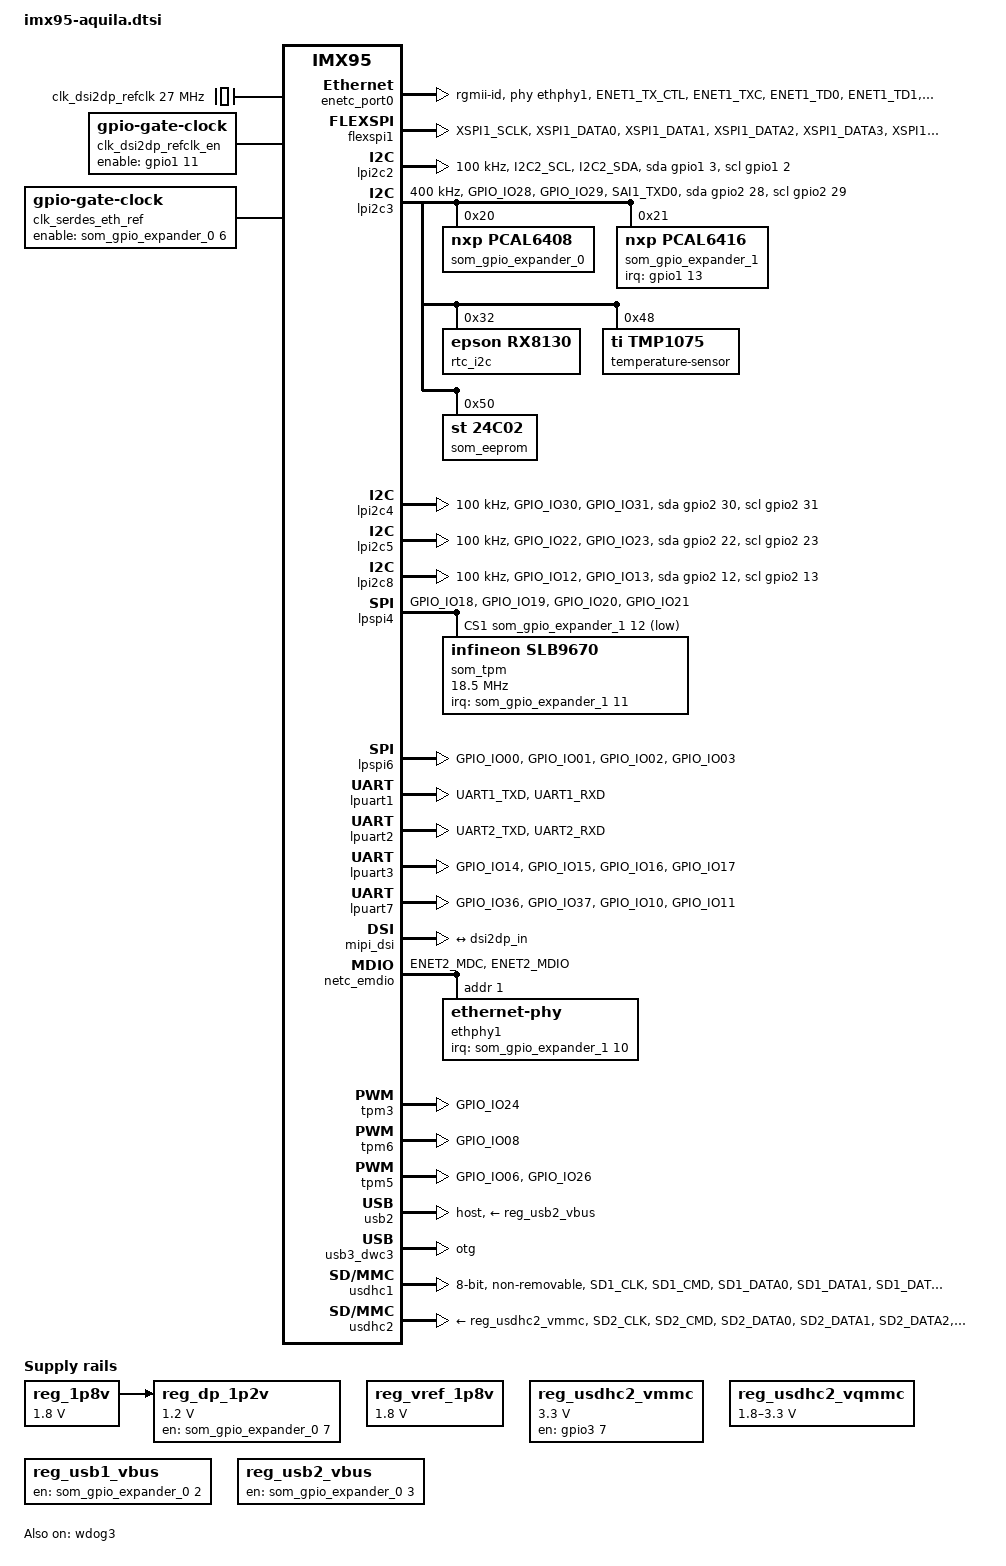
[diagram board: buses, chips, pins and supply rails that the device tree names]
// SPDX-License-Identifier: GPL-2.0-or-later OR MIT
/*
 * Copyright (C) 2025 Toradex
 *
 * https://www.toradex.com/computer-on-modules/aquila-arm-family/nxp-imx95
 */

#include <dt-bindings/net/ti-dp83867.h>
#include <dt-bindings/phy/phy-imx8-pcie.h>
#include "imx95.dtsi"

/ {
	aliases {
		eeprom0 = &som_eeprom;
		ethernet0 = &enetc_port0;
		ethernet1 = &enetc_port2;
		i2c0 = &lpi2c3;
		i2c1 = &lpi2c2;
		i2c3 = &lpi2c8;
		i2c4 = &lpi2c4;
		i2c6 = &lpi2c5;
		mmc0 = &usdhc1;
		mmc1 = &usdhc2;
		rtc0 = &rtc_i2c;
		serial0 = &lpuart3;
		serial1 = &lpuart7;
		serial2 = &lpuart1;
		serial3 = &lpuart2;
		usb0 = &usb3;
	};

	chosen {
		stdout-path = "serial2:115200n8";
	};

	aquila_key_wake: gpio-key-wakeup {
		compatible = "gpio-keys";
		pinctrl-names = "default";
		pinctrl-0 = <&pinctrl_ctrl_wake1_mico>;
		status = "disabled";

		key-wakeup {
			/* Aquila CTRL_WAKE1_MICO# */
			gpios = <&gpio5 11 GPIO_ACTIVE_LOW>;
			label = "Wake Up";
			linux,code = <KEY_WAKEUP>;
			wakeup-source;
		};
	};

	clk_dsi2dp_refclk: clock-dsi2dp-refclk {
		compatible = "fixed-clock";
		#clock-cells = <0>;
		clock-frequency = <27000000>;
	};

	clk_dsi2dp_refclk_en: clock-dsi2dp-refclk-en {
		compatible = "gpio-gate-clock";
		pinctrl-names = "default";
		pinctrl-0 = <&pinctrl_ctrl_dp_clk_en>;
		clocks = <&clk_dsi2dp_refclk>;
		#clock-cells = <0>;
		/* CTRL_DP_CLK_EN */
		enable-gpios = <&gpio1 11 GPIO_ACTIVE_HIGH>;
	};

	clk_serdes_eth_ref: clock-serdes-eth-ref {
		compatible = "gpio-gate-clock";
		#clock-cells = <0>;
		/* CTRL_ETH_REF_CLK_STBY# */
		enable-gpios = <&som_gpio_expander_0 6 GPIO_ACTIVE_HIGH>;
	};

	reg_1p8v: regulator-1p8v {
		compatible = "regulator-fixed";
		regulator-max-microvolt = <1800000>;
		regulator-min-microvolt = <1800000>;
		regulator-name = "On-module +V1.8";
	};

	reg_dp_1p2v: regulator-dp-1p2v {
		compatible = "regulator-fixed";
		/* CTRL_DP_BRIDGE_EN */
		gpios = <&som_gpio_expander_0 7 GPIO_ACTIVE_HIGH>;
		enable-active-high;
		regulator-max-microvolt = <1200000>;
		regulator-min-microvolt = <1200000>;
		regulator-name = "On-module +V1.2_DP";
		vin-supply = <&reg_1p8v>;
	};

	reg_vref_1p8v: regulator-vref-1p8v {
		compatible = "regulator-fixed";
		regulator-max-microvolt = <1800000>;
		regulator-min-microvolt = <1800000>;
		regulator-name = "VREF_V1.8";
	};

	reg_usdhc2_vmmc: regulator-usdhc2-vmmc {
		compatible = "regulator-fixed";
		pinctrl-names = "default";
		pinctrl-0 = <&pinctrl_sd1_pwr_en>;
		/* Aquila SD_1_PWR_EN */
		gpios = <&gpio3 7 GPIO_ACTIVE_HIGH>;
		enable-active-high;
		off-on-delay-us = <100000>;
		regulator-max-microvolt = <3300000>;
		regulator-min-microvolt = <3300000>;
		regulator-name = "SD_1_PWR_EN";
		startup-delay-us = <20000>;
	};

	reg_usdhc2_vqmmc: regulator-usdhc2-vqmmc {
		compatible = "regulator-gpio";
		/* PMIC_SD_1_VSEL */
		gpios = <&som_gpio_expander_1 9 GPIO_ACTIVE_HIGH>;
		regulator-max-microvolt = <3300000>;
		regulator-min-microvolt = <1800000>;
		regulator-name = "PMIC_SD_1_VSEL";
		states = <1800000 0x1>,
			 <3300000 0x0>;
	};

	reg_usb1_vbus: regulator-usb1-vbus {
		compatible = "regulator-fixed";
		/* Aquila USB_1_EN */
		gpios = <&som_gpio_expander_0 2 GPIO_ACTIVE_HIGH>;
		enable-active-high;
		regulator-name = "USB_1_EN";
	};

	reg_usb2_vbus: regulator-usb2-vbus {
		compatible = "regulator-fixed";
		/* Aquila USB_2_EN */
		gpios = <&som_gpio_expander_0 3 GPIO_ACTIVE_HIGH>;
		enable-active-high;
		regulator-name = "USB_2_H_EN";
	};

	reserved-memory {
		#address-cells = <2>;
		#size-cells = <2>;
		ranges;

		ele_reserved: memory@9c300000 {
			compatible = "shared-dma-pool";
			reg = <0 0x9c300000 0 0x100000>;
			no-map;
		};

		linux_cma: linux,cma {
			compatible = "shared-dma-pool";
			reusable;
			size = <0 0x3c000000>;
			alloc-ranges = <0 0x80000000 0 0x7F000000>;
			linux,cma-default;
		};

		vpu_boot: vpu_boot@a0000000 {
			reg = <0 0xa0000000 0 0x100000>;
			no-map;
		};
	};
};

/* Aquila ETH_1 */
&enetc_port0 {
	pinctrl-names = "default";
	pinctrl-0 = <&pinctrl_enetc0>;
	phy-handle = <&ethphy1>;
	phy-mode = "rgmii-id";
};

/* Aquila ETH_2_XGMII */
&enetc_port2 {
	clocks = <&clk_serdes_eth_ref>;
	clock-names = "enet_ref_clk";
};

/* Aquila QSPI_1 */
&flexspi1 {
	pinctrl-names = "default";
	pinctrl-0 = <&pinctrl_flexspi1_8bit>,
		    <&pinctrl_qspi_cs1>;
};

&gpio1 {
	gpio-line-names = "", /* 0 */
			  "",
			  "",
			  "",
			  "",
			  "",
			  "",
			  "",
			  "",
			  "",
			  "GPIO_08", /* 10 */
			  "",
			  "GPIO_09_CSI_1",
			  "CTRL_GPIO_EXP_INT#",
			  "GPIO_10_CSI_1";
	status = "okay";
};

&gpio2 {
	gpio-line-names = "", /* 0 */
			  "",
			  "",
			  "",
			  "",
			  "",
			  "",
			  "GPIO_17_DSI_1",
			  "",
			  "GPIO_18_DSI_1";
};

&gpio3 {
	gpio-line-names = "", /* 0 */
			  "",
			  "",
			  "",
			  "",
			  "",
			  "",
			  "",
			  "",
			  "",
			  "", /* 10 */
			  "",
			  "",
			  "",
			  "",
			  "",
			  "",
			  "",
			  "",
			  "GPIO_11_CSI_1",
			  "", /* 20 */
			  "GPIO_21_DP",
			  "GPIO_12_CSI_1";
};

&gpio4 {
	gpio-line-names = "", /* 0 */
			  "",
			  "",
			  "",
			  "",
			  "",
			  "",
			  "",
			  "",
			  "",
			  "", /* 10 */
			  "",
			  "",
			  "",
			  "",
			  "",
			  "",
			  "GPIO_06",
			  "GPIO_05",
			  "GPIO_04",
			  "", /* 20 */
			  "",
			  "",
			  "GPIO_07",
			  "GPIO_01",
			  "GPIO_02",
			  "",
			  "GPIO_03";
};

&gpio5 {
	gpio-line-names = "", /* 0 */
			  "",
			  "",
			  "",
			  "",
			  "",
			  "",
			  "",
			  "",
			  "GPIO_18_DSI_1",
			  "", /* 10 */
			  "",
			  "",
			  "GPIO_19_DSI_1",
			  "GPIO_20_DSI_1";
};

/* Aquila I2C_1 */
&lpi2c2 {
	pinctrl-names = "default", "gpio";
	pinctrl-0 = <&pinctrl_lpi2c2>;
	pinctrl-1 = <&pinctrl_lpi2c2_gpio>;
	#address-cells = <1>;
	#size-cells = <0>;
	clock-frequency = <100000>;
	scl-gpios = <&gpio1 2 (GPIO_ACTIVE_HIGH | GPIO_OPEN_DRAIN)>;
	sda-gpios = <&gpio1 3 (GPIO_ACTIVE_HIGH | GPIO_OPEN_DRAIN)>;
};

/* On-module I2C - I2C_SOM */
&lpi2c3 {
	pinctrl-names = "default", "gpio";
	pinctrl-0 = <&pinctrl_lpi2c3>, <&pinctrl_ctrl_gpio_exp_int>;
	pinctrl-1 = <&pinctrl_lpi2c3_gpio>, <&pinctrl_ctrl_gpio_exp_int>;
	#address-cells = <1>;
	#size-cells = <0>;
	clock-frequency = <400000>;
	scl-gpios = <&gpio2 29 (GPIO_ACTIVE_HIGH | GPIO_OPEN_DRAIN)>;
	sda-gpios = <&gpio2 28 (GPIO_ACTIVE_HIGH | GPIO_OPEN_DRAIN)>;
	status = "okay";

	som_gpio_expander_0: gpio@20 {
		compatible = "nxp,pcal6408";
		reg = <0x20>;
		#gpio-cells = <2>;
		gpio-controller;
		gpio-line-names =
			"PCIE_1_RESET#", /* 0 */
			"PCIE_2_RESET#",
			"USB_1_EN",
			"USB_2_H_EN",
			"BT_DISABLE#",
			"WIFI_DISABLE#",
			"CTRL_ETH_REF_CLK_STBY",
			"CTRL_DP_BRIDGE_EN";
	};

	som_gpio_expander_1: gpio@21 {
		compatible = "nxp,pcal6416";
		reg = <0x21>;
		#interrupt-cells = <2>;
		interrupt-controller;
		interrupt-parent = <&gpio1>;
		interrupts = <13 IRQ_TYPE_LEVEL_LOW>;
		#gpio-cells = <2>;
		gpio-controller;
		gpio-line-names =
			"GPIO_13_CSI_2", /* 0 */
			"GPIO_14_CSI_2",
			"GPIO_15_CSI_2",
			"GPIO_16_CSI_2",
			"PCIE_WAKE#",
			"USB_1_INT#",
			"USB_1_OC#",
			"USB_2_H_OC#",
			"ETH_2_XGMII_INT#",
			"PMIC_SD_1_VSEL",
			"ETH_1_INT#", /* 10 */
			"CTRL_TPM_INT#",
			"SPI_2_CS2_TPM",
			"PCIE_WAKE_WIFI#",
			"WIFI_WAKE_BT",
			"WIFI_WAKEUP_HOST";
	};

	som_dsi2dp_bridge: bridge@2c {
		compatible = "ti,sn65dsi86";
		reg = <0x2c>;
		clocks = <&clk_dsi2dp_refclk_en>;
		clock-names = "refclk";
		vcc-supply = <&reg_dp_1p2v>;
		vcca-supply = <&reg_dp_1p2v>;
		vccio-supply = <&reg_1p8v>;
		vpll-supply = <&reg_1p8v>;
		status = "disabled";

		ports {
			#address-cells = <1>;
			#size-cells = <0>;

			port@0 {
				reg = <0>;
				dsi2dp_in: endpoint {
					remote-endpoint = <&dsi0_out>;
				};
			};

			port@1 {
				reg = <1>;
				dsi2dp_out: endpoint {
					data-lanes = <3 2 1 0>;
				};
			};
		};
	};

	rtc_i2c: rtc@32 {
		compatible = "epson,rx8130";
		reg = <0x32>;
	};

	temperature-sensor@48 {
		compatible = "ti,tmp1075";
		reg = <0x48>;
	};

	som_eeprom: eeprom@50 {
		compatible = "st,24c02", "atmel,24c02";
		reg = <0x50>;
		pagesize = <16>;
	};
};

/* Aquila I2C_4_CSI1 */
&lpi2c4 {
	pinctrl-names = "default", "gpio";
	pinctrl-0 = <&pinctrl_lpi2c4>;
	pinctrl-1 = <&pinctrl_lpi2c4_gpio>;
	#address-cells = <1>;
	#size-cells = <0>;
	clock-frequency = <100000>;
	scl-gpios = <&gpio2 31 (GPIO_ACTIVE_HIGH | GPIO_OPEN_DRAIN)>;
	sda-gpios = <&gpio2 30 (GPIO_ACTIVE_HIGH | GPIO_OPEN_DRAIN)>;
};

/* Aquila I2C_6 */
&lpi2c5 {
	pinctrl-names = "default", "gpio";
	pinctrl-0 = <&pinctrl_lpi2c5>;
	pinctrl-1 = <&pinctrl_lpi2c5_gpio>;
	#address-cells = <1>;
	#size-cells = <0>;
	clock-frequency = <100000>;
	scl-gpios = <&gpio2 23 (GPIO_ACTIVE_HIGH | GPIO_OPEN_DRAIN)>;
	sda-gpios = <&gpio2 22 (GPIO_ACTIVE_HIGH | GPIO_OPEN_DRAIN)>;
};

/* Aquila I2C_3_DSI1/I2C_5_CSI2 */
&lpi2c8 {
	pinctrl-names = "default", "gpio";
	pinctrl-0 = <&pinctrl_lpi2c8>;
	pinctrl-1 = <&pinctrl_lpi2c8_gpio>;
	#address-cells = <1>;
	#size-cells = <0>;
	clock-frequency = <100000>;
	scl-gpios = <&gpio2 13 (GPIO_ACTIVE_HIGH | GPIO_OPEN_DRAIN)>;
	sda-gpios = <&gpio2 12 (GPIO_ACTIVE_HIGH | GPIO_OPEN_DRAIN)>;
};

/* Aquila SPI_2 */
&lpspi4 {
	pinctrl-names = "default";
	pinctrl-0 = <&pinctrl_lpspi4>;
	cs-gpios = <&gpio2 18 GPIO_ACTIVE_LOW>,
		   <&som_gpio_expander_1 12 GPIO_ACTIVE_LOW>;
	status = "okay";

	som_tpm: tpm@1 {
		compatible = "infineon,slb9670", "tcg,tpm_tis-spi";
		reg = <0x1>;
		interrupt-parent = <&som_gpio_expander_1>;
		interrupts = <11 IRQ_TYPE_EDGE_FALLING>;
		spi-max-frequency = <18500000>;
	};
};

/* Aquila SPI_1 */
&lpspi6 {
	pinctrl-names = "default";
	pinctrl-0 = <&pinctrl_lpspi6>;
	cs-gpios = <&gpio2 0 GPIO_ACTIVE_LOW>;
};

/* Aquila UART_3, used as the Linux Console */
&lpuart1 {
	pinctrl-names = "default";
	pinctrl-0 = <&pinctrl_uart1>;
};

/* Aquila UART_4 */
&lpuart2 {
	pinctrl-names = "default";
	pinctrl-0 = <&pinctrl_uart2>;
};

/* Aquila UART_1 */
&lpuart3 {
	pinctrl-names = "default";
	pinctrl-0 = <&pinctrl_uart3>;
	uart-has-rtscts;
};

/* Aquila UART_2 */
&lpuart7 {
	pinctrl-names = "default";
	pinctrl-0 = <&pinctrl_uart7>;
	uart-has-rtscts;
};

&mipi_dsi {
	ports {
		#address-cells = <1>;
		#size-cells = <0>;

		port@1 {
			reg = <1>;
			dsi0_out: endpoint {
				remote-endpoint = <&dsi2dp_in>;
			};
		};
	};
};

/* Aquila ETH_2_XGMII_MDIO, shared between all ethernet ports */
&netc_emdio {
	pinctrl-names = "default";
	pinctrl-0 = <&pinctrl_emdio>;

	ethphy1: ethernet-phy@1 {
		reg = <1>;
		interrupt-parent = <&som_gpio_expander_1>;
		interrupts = <10 IRQ_TYPE_EDGE_FALLING>;
		ti,rx-internal-delay = <DP83867_RGMIIDCTL_2_00_NS>;
		ti,tx-internal-delay = <DP83867_RGMIIDCTL_2_00_NS>;
	};
};

/* Aquila PWM_1 */
&tpm3 {
	pinctrl-names = "default";
	pinctrl-0 = <&pinctrl_pwm1>;
};

/* Aquila PWM_2 */
&tpm6 {
	pinctrl-names = "default";
	pinctrl-0 = <&pinctrl_pwm2>;
};

/* Aquila PWM_3_DSI and PWM_4_DP */
&tpm5 {
	pinctrl-names = "default";
	pinctrl-0 = <&pinctrl_pwm3_dsi>, <&pinctrl_pwm4_dp>;
};

/* Aquila USB_2, optional Bluetooth USB */
&usb2 {
	dr_mode = "host";
	vbus-supply = <&reg_usb2_vbus>;
};

/* Aquila USB_1 */
&usb3 {
	fsl,disable-port-power-control;
};

&usb3_dwc3 {
	dr_mode = "otg";
	adp-disable;
	hnp-disable;
	srp-disable;
	usb-role-switch;
};

&usb3_phy {
	vbus-supply = <&reg_usb1_vbus>;
};

/* On-module eMMC */
&usdhc1 {
	pinctrl-names = "default", "state_100mhz", "state_200mhz";
	pinctrl-0 = <&pinctrl_usdhc1>;
	pinctrl-1 = <&pinctrl_usdhc1>;
	pinctrl-2 = <&pinctrl_usdhc1_200mhz>;
	bus-width = <8>;
	non-removable;
	no-sdio;
	no-sd;
	status = "okay";
};

/* Aquila SD_1 */
&usdhc2 {
	pinctrl-names = "default", "state_100mhz", "state_200mhz", "sleep";
	pinctrl-0 = <&pinctrl_usdhc2>, <&pinctrl_sd1_cd_gpio>;
	pinctrl-1 = <&pinctrl_usdhc2>, <&pinctrl_sd1_cd_gpio>;
	pinctrl-2 = <&pinctrl_usdhc2_200mhz>,<&pinctrl_sd1_cd_gpio>;
	pinctrl-3 = <&pinctrl_usdhc2_sleep>, <&pinctrl_sd1_cd_gpio>;
	cd-gpios = <&gpio3 0 GPIO_ACTIVE_LOW>;
	vmmc-supply = <&reg_usdhc2_vmmc>;
	vqmmc-supply = <&reg_usdhc2_vqmmc>;
};

&wdog3 {
	fsl,ext-reset-output;
	status = "okay";
};

&scmi_iomuxc {
	/* Aquila ETH_2_XGMII_MDIO */
	pinctrl_emdio: emdiogrp {
		fsl,pins = <IMX95_PAD_ENET2_MDC__NETCMIX_TOP_NETC_MDC	0x57e>, /* Aquila B90 */
			   <IMX95_PAD_ENET2_MDIO__NETCMIX_TOP_NETC_MDIO	0x97e>; /* Aquila B89 */
	};

	/* Aquila ETH_1 */
	pinctrl_enetc0: enetc0grp {
		fsl,pins = <IMX95_PAD_ENET1_TX_CTL__NETCMIX_TOP_ETH0_RGMII_TX_CTL	0x57e>, /* ENET1_TX_CTL */
			   <IMX95_PAD_ENET1_TXC__NETCMIX_TOP_ETH0_RGMII_TX_CLK		0x58e>, /* ENET1_TXC    */
			   <IMX95_PAD_ENET1_TD0__NETCMIX_TOP_ETH0_RGMII_TD0		0x50e>, /* ENET1_TDO    */
			   <IMX95_PAD_ENET1_TD1__NETCMIX_TOP_ETH0_RGMII_TD1		0x50e>, /* ENET1_TD1    */
			   <IMX95_PAD_ENET1_TD2__NETCMIX_TOP_ETH0_RGMII_TD2		0x50e>, /* ENET1_TD2    */
			   <IMX95_PAD_ENET1_TD3__NETCMIX_TOP_ETH0_RGMII_TD3		0x50e>, /* ENET1_TD3    */
			   <IMX95_PAD_ENET1_RX_CTL__NETCMIX_TOP_ETH0_RGMII_RX_CTL	0x57e>, /* ENET1_RX_CTL */
			   <IMX95_PAD_ENET1_RXC__NETCMIX_TOP_ETH0_RGMII_RX_CLK		0x58e>, /* ENET1_RXC    */
			   <IMX95_PAD_ENET1_RD0__NETCMIX_TOP_ETH0_RGMII_RD0		0x57e>, /* ENET1_RD0    */
			   <IMX95_PAD_ENET1_RD1__NETCMIX_TOP_ETH0_RGMII_RD1		0x57e>, /* ENET1_RD1    */
			   <IMX95_PAD_ENET1_RD2__NETCMIX_TOP_ETH0_RGMII_RD2		0x57e>, /* ENET1_RD2    */
			   <IMX95_PAD_ENET1_RD3__NETCMIX_TOP_ETH0_RGMII_RD3		0x57e>; /* ENET1_RD3    */
	};

	pinctrl_ctrl_dp_clk_en: dpclkengrp {
		fsl,pins = <IMX95_PAD_SAI1_TXFS__AONMIX_TOP_GPIO1_IO_BIT11	0x11e>; /* CTRL_DP_CLK_EN */
	};

	pinctrl_ctrl_gpio_exp_int: gpioexpintgrp {
		fsl,pins = <IMX95_PAD_SAI1_TXD0__AONMIX_TOP_GPIO1_IO_BIT13	0x31e>; /* CTRL_GPIO_EXP_INT# */
	};

	/* Aquila CTRL_WAKE1_MICO# */
	pinctrl_ctrl_wake1_mico: ctrlwake1micogrp {
		fsl,pins = <IMX95_PAD_XSPI1_SS1_B__GPIO5_IO_BIT11	0x31e>; /* Aquila D6 */
	};

	/* Aquila CAN_1 */
	pinctrl_flexcan1: flexcan1grp {
		fsl,pins = <IMX95_PAD_PDM_CLK__AONMIX_TOP_CAN1_TX		0x39e>, /* Aquila B48 */
			   <IMX95_PAD_PDM_BIT_STREAM0__AONMIX_TOP_CAN1_RX	0x39e>; /* Aquila B49 */
	};

	/* Aquila CAN_2 */
	pinctrl_flexcan2: flexcan2grp {
		fsl,pins = <IMX95_PAD_GPIO_IO25__CAN2_TX	0x39e>, /* Aquila B50 */
			   <IMX95_PAD_GPIO_IO27__CAN2_RX	0x39e>; /* Aquila B51 */
	};

	/* Aquila CAN_3 */
	pinctrl_flexcan3: flexcan3grp {
		fsl,pins = <IMX95_PAD_CCM_CLKO3__CAN3_TX	0x39e>, /* Aquila B53 */
			   <IMX95_PAD_CCM_CLKO4__CAN3_RX	0x39e>; /* Aquila B54 */
	};

	/* Aquila CAN_4 */
	pinctrl_flexcan4: flexcan4grp {
		fsl,pins = <IMX95_PAD_GPIO_IO04__CAN4_TX	0x39e>, /* Aquila B55 */
			   <IMX95_PAD_GPIO_IO05__CAN4_RX	0x39e>; /* Aquila B56 */
	};

	/* Aquila QSPI_1 (8 bit) */
	pinctrl_flexspi1_8bit: flexspi18bitgrp {
		fsl,pins = <IMX95_PAD_XSPI1_SCLK__FLEXSPI1_A_SCLK	0x3fe>, /* Aquila B65 */
			   <IMX95_PAD_XSPI1_DATA0__FLEXSPI1_A_DATA_BIT0	0x3fe>, /* Aquila B68 */
			   <IMX95_PAD_XSPI1_DATA1__FLEXSPI1_A_DATA_BIT1	0x3fe>, /* Aquila B67 */
			   <IMX95_PAD_XSPI1_DATA2__FLEXSPI1_A_DATA_BIT2	0x3fe>, /* Aquila B61 */
			   <IMX95_PAD_XSPI1_DATA3__FLEXSPI1_A_DATA_BIT3	0x3fe>, /* Aquila B60 */
			   <IMX95_PAD_XSPI1_DATA4__FLEXSPI1_A_DATA_BIT4	0x3fe>, /* Aquila B70 */
			   <IMX95_PAD_XSPI1_DATA5__FLEXSPI1_A_DATA_BIT5	0x3fe>, /* Aquila B71 */
			   <IMX95_PAD_XSPI1_DATA6__FLEXSPI1_A_DATA_BIT6	0x3fe>, /* Aquila B72 */
			   <IMX95_PAD_XSPI1_DATA7__FLEXSPI1_A_DATA_BIT7	0x3fe>, /* Aquila B73 */
			   <IMX95_PAD_XSPI1_DQS__FLEXSPI1_A_DQS		0x3fe>; /* Aquila B63 */
	};

	/* Aquila QSPI_1 (4 bit) */
	pinctrl_flexspi1_4bit: flexspi18bitgrp {
		fsl,pins = <IMX95_PAD_XSPI1_SCLK__FLEXSPI1_A_SCLK	0x3fe>, /* Aquila B65 */
			   <IMX95_PAD_XSPI1_DATA0__FLEXSPI1_A_DATA_BIT0	0x3fe>, /* Aquila B68 */
			   <IMX95_PAD_XSPI1_DATA1__FLEXSPI1_A_DATA_BIT1	0x3fe>, /* Aquila B67 */
			   <IMX95_PAD_XSPI1_DATA2__FLEXSPI1_A_DATA_BIT2	0x3fe>, /* Aquila B61 */
			   <IMX95_PAD_XSPI1_DATA3__FLEXSPI1_A_DATA_BIT3	0x3fe>, /* Aquila B60 */
			   <IMX95_PAD_XSPI1_DQS__FLEXSPI1_A_DQS		0x3fe>; /* Aquila B63 */
	};

	/* Aquila GPIO_01 */
	pinctrl_gpio1: gpio1grp {
		fsl,pins = <IMX95_PAD_ENET2_RD0__GPIO4_IO_BIT24	0x31e>; /* Aquila D23 */
	};

	/* Aquila GPIO_02 */
	pinctrl_gpio2: gpio2grp {
		fsl,pins = <IMX95_PAD_ENET2_RD1__GPIO4_IO_BIT25	0x31e>; /* Aquila D24 */
	};

	/* Aquila GPIO_03 */
	pinctrl_gpio3: gpio3grp {
		fsl,pins = <IMX95_PAD_ENET2_RD3__GPIO4_IO_BIT27	0x31e>; /* Aquila D25 */
	};

	/* Aquila GPIO_04 */
	pinctrl_gpio4: gpio4grp {
		fsl,pins = <IMX95_PAD_ENET2_TD0__GPIO4_IO_BIT19	0x31e>; /* Aquila C20 */
	};

	/* Aquila GPIO_05 */
	pinctrl_gpio5: gpio5grp {
		fsl,pins = <IMX95_PAD_ENET2_TD1__GPIO4_IO_BIT18	0x31e>; /* Aquila C21 */
	};

	/* Aquila GPIO_06 */
	pinctrl_gpio6: gpio6grp {
		fsl,pins = <IMX95_PAD_ENET2_TD2__GPIO4_IO_BIT17	0x31e>; /* Aquila C22 */
	};

	/* Aquila GPIO_07 */
	pinctrl_gpio7: gpio7grp {
		fsl,pins = <IMX95_PAD_ENET2_RXC__GPIO4_IO_BIT23	0x31e>; /* Aquila C23 */
	};

	/* Aquila GPIO_08 */
	pinctrl_gpio8: gpio8grp {
		fsl,pins = <IMX95_PAD_PDM_BIT_STREAM1__AONMIX_TOP_GPIO1_IO_BIT10	0x31e>; /* Aquila C24 */
	};

	/* Aquila GPIO_09_CSI_1 */
	pinctrl_gpio9_csi_1: gpio9csi1grp {
		fsl,pins = <IMX95_PAD_SAI1_TXC__AONMIX_TOP_GPIO1_IO_BIT12	0x31e>; /* Aquila B17 */
	};

	/* Aquila GPIO_10_CSI_1 */
	pinctrl_gpio10_csi_1: gpio10csi1grp {
		fsl,pins = <IMX95_PAD_SAI1_RXD0__AONMIX_TOP_GPIO1_IO_BIT14	0x31e>; /* Aquila B18 */
	};

	/* Aquila GPIO_11_CSI_1 */
	pinctrl_gpio11_csi_1: gpio11csi1grp {
		fsl,pins = <IMX95_PAD_SD2_VSELECT__GPIO3_IO_BIT19	0x31e>; /* Aquila A11*/
	};

	/* Aquila GPIO_12_CSI_1 */
	pinctrl_gpio12_csi_1: gpio12csi1grp {
		fsl,pins = <IMX95_PAD_SD3_DATA0__GPIO3_IO_BIT22	0x31e>; /* Aquila B19 */
	};

	/* Aquila GPIO_17_DSI_1 */
	pinctrl_gpio17_dsi_1: gpio17dsi1grp {
		fsl,pins = <IMX95_PAD_GPIO_IO07__GPIO2_IO_BIT7	0x31e>; /* Aquila B42 */
	};

	/* Aquila GPIO_18_DSI_1 */
	pinctrl_gpio18_dsi_1: gpio18dsi1grp {
		fsl,pins = <IMX95_PAD_GPIO_IO09__GPIO2_IO_BIT9	0x31e>; /* Aquila B43 */
	};

	/* Aquila GPIO_19_DSI_1 */
	pinctrl_gpio19_dsi_1: gpio19dsi1grp {
		fsl,pins = <IMX95_PAD_GPIO_IO33__GPIO5_IO_BIT13	0x31e>; /* Aquila B44 */
	};

	/* Aquila GPIO_20_DSI_1 */
	pinctrl_gpio20_dsi_1: gpio20dsi1grp {
		fsl,pins = <IMX95_PAD_GPIO_IO34__GPIO5_IO_BIT14	0x31e>; /* Aquila B45 */
	};

	/* Aquila GPIO_21_DP */
	pinctrl_gpio21_dp: gpio21dpgrp {
		fsl,pins = <IMX95_PAD_SD3_CMD__GPIO3_IO_BIT21	0x31e>; /* Aquila B57 */
	};

	/* Aquila I2C_2 */
	pinctrl_i3c2: i3c2cgrp {
		fsl,pins = <IMX95_PAD_ENET1_MDC__I3C2_SCL	0x40001186>, /* Aquila C17 */
			   <IMX95_PAD_ENET1_MDIO__I3C2_SDA	0x40001186>; /* Aquila C16 */
	};

	/* Aquila I2C_1 */
	pinctrl_lpi2c2: lpi2c2grp {
		fsl,pins = <IMX95_PAD_I2C2_SCL__AONMIX_TOP_LPI2C2_SCL	0x40001b9e>, /* Aquila D8 */
			   <IMX95_PAD_I2C2_SDA__AONMIX_TOP_LPI2C2_SDA	0x40001b9e>; /* Aquila D7 */
	};

	/* Aquila I2C_1 as GPIOs */
	pinctrl_lpi2c2_gpio: lpi2c2gpiogrp {
		fsl,pins = <IMX95_PAD_I2C2_SCL__AONMIX_TOP_GPIO1_IO_BIT2	0x40001b9e>, /* Aquila D8 */
			   <IMX95_PAD_I2C2_SDA__AONMIX_TOP_GPIO1_IO_BIT3	0x40001b9e>; /* Aquila D7 */
	};

	/* On-module I2C */
	pinctrl_lpi2c3: lpi2c3grp {
		fsl,pins = <IMX95_PAD_GPIO_IO28__LPI2C3_SDA	0x40001b9e>, /* I2C_SOM_SDA */
			   <IMX95_PAD_GPIO_IO29__LPI2C3_SCL	0x40001b9e>; /* I2C_SOM_SCL */
	};

	/* On-module I2C as GPIOs */
	pinctrl_lpi2c3_gpio: lpi2c3gpiogrp {
		fsl,pins = <IMX95_PAD_GPIO_IO28__GPIO2_IO_BIT28	0x40001b9e>, /* I2C_SOM_SDA */
			   <IMX95_PAD_GPIO_IO29__GPIO2_IO_BIT29	0x40001b9e>; /* I2C_SOM_SCL */
	};

	/* Aquila I2C_4_CSI1 */
	pinctrl_lpi2c4: lpi2c4grp {
		fsl,pins = <IMX95_PAD_GPIO_IO30__LPI2C4_SDA	0x40001b9e>, /* Aquila A12 */
			   <IMX95_PAD_GPIO_IO31__LPI2C4_SCL	0x40001b9e>; /* Aquila A13 */
	};

	/* Aquila I2C_4_CSI1 as GPIO */
	pinctrl_lpi2c4_gpio: lpi2c4gpiogrp {
		fsl,pins = <IMX95_PAD_GPIO_IO30__GPIO2_IO_BIT30	0x40001b9e>, /* Aquila A12 */
			   <IMX95_PAD_GPIO_IO31__GPIO2_IO_BIT31	0x40001b9e>; /* Aquila A13 */
	};

	/* Aquila I2C_6 */
	pinctrl_lpi2c5: lpi2c5grp {
		fsl,pins = <IMX95_PAD_GPIO_IO22__LPI2C5_SDA	0x40001b9e>, /* Aquila C18 */
			   <IMX95_PAD_GPIO_IO23__LPI2C5_SCL	0x40001b9e>; /* Aquila C19 */
	};

	/* Aquila I2C_6 as GPIO */
	pinctrl_lpi2c5_gpio: lpi2c5grp {
		fsl,pins = <IMX95_PAD_GPIO_IO22__GPIO2_IO_BIT22	0x40001b9e>, /* Aquila C18 */
			   <IMX95_PAD_GPIO_IO23__GPIO2_IO_BIT23	0x40001b9e>; /* Aquila C19 */
	};

	/* Aquila I2C_3_DSI1/I2C_5_CSI2 */
	pinctrl_lpi2c8: lpi2c8grp {
		fsl,pins = <IMX95_PAD_GPIO_IO12__LPI2C8_SDA	0x40001b9e>, /* Aquila C5/B40 */
			   <IMX95_PAD_GPIO_IO13__LPI2C8_SCL	0x40001b9e>; /* Aquila C6/C41 */
	};

	/* Aquila I2C_3_DSI1/I2C_5_CSI2 as GPIO */
	pinctrl_lpi2c8_gpio: lpi2c8gpiogrp {
		fsl,pins = <IMX95_PAD_GPIO_IO12__GPIO2_IO_BIT12	0x40001b9e>, /* Aquila C5/B40 */
			   <IMX95_PAD_GPIO_IO13__GPIO2_IO_BIT13	0x40001b9e>; /* Aquila C6/B41 */
	};

	/* Aquila SPI_2 */
	pinctrl_lpspi4: lpspi4grp {
		fsl,pins = <IMX95_PAD_GPIO_IO18__GPIO2_IO_BIT18	0x3fe>, /* Aquila D16 */
			   <IMX95_PAD_GPIO_IO19__LPSPI4_SIN	0x3fe>, /* Aquila D15 */
			   <IMX95_PAD_GPIO_IO20__LPSPI4_SOUT	0x3fe>, /* Aquila D17 */
			   <IMX95_PAD_GPIO_IO21__LPSPI4_SCK	0x3fe>; /* Aquila D14 */
	};

	/* Aquila SPI_1 */
	pinctrl_lpspi6: lpspi6grp {
		fsl,pins = <IMX95_PAD_GPIO_IO00__GPIO2_IO_BIT0	0x3fe>, /* Aquila D9 */
			   <IMX95_PAD_GPIO_IO01__LPSPI6_SIN	0x3fe>, /* Aquila D10 */
			   <IMX95_PAD_GPIO_IO02__LPSPI6_SOUT	0x3fe>, /* Aquila D11 */
			   <IMX95_PAD_GPIO_IO03__LPSPI6_SCK	0x3fe>; /* Aquila D12 */
	};

	/* Aquila PCIE_1 */
	pinctrl_pcie0: pcie0grp {
		fsl,pins = <IMX95_PAD_GPIO_IO32__HSIOMIX_TOP_PCIE1_CLKREQ_B	0x40001b1e>; /* Aquila C37 */
	};

	/* Aquila PCIE_2 */
	pinctrl_pcie1: pcie1grp {
		fsl,pins = <IMX95_PAD_GPIO_IO35__HSIOMIX_TOP_PCIE2_CLKREQ_B	0x40001b1e>; /* Aquila C34 */
	};

	/* Aquila QSPI_1_CS1# */
	pinctrl_qspi_cs1: qspics1grp {
		fsl,pins = <IMX95_PAD_XSPI1_SS0_B__FLEXSPI1_A_SS0_B	0x3fe>; /* Aquila B66 */
	};

	/* Aquila QSPI_1_CS2# as GPIO */
	pinctrl_qspi_cs2_gpio: qspics2gpiogrp {
		fsl,pins = <IMX95_PAD_CCM_CLKO2__GPIO3_IO_BIT27	0x3fe>; /* Aquila B62 */
	};

	/* Aquila I2S_1 */
	pinctrl_sai2: sai2grp {
		fsl,pins = <IMX95_PAD_ENET2_TX_CTL__NETCMIX_TOP_SAI2_TX_SYNC		0x11e>, /* Aquila B21 */
			   <IMX95_PAD_ENET2_TXC__NETCMIX_TOP_SAI2_TX_BCLK		0x11e>, /* Aquila B20 */
			   <IMX95_PAD_ENET2_TD3__NETCMIX_TOP_SAI2_RX_DATA_BIT0		0x11e>, /* Aquila B23 */
			   <IMX95_PAD_ENET2_RX_CTL__NETCMIX_TOP_SAI2_TX_DATA_BIT0	0x11e>; /* Aquila B22 */
	};

	pinctrl_sai2_mclk: sai2mclkgrp {
		fsl,pins = <IMX95_PAD_ENET2_RD2__NETCMIX_TOP_SAI2_MCLK	0x31e>; /* Aquila B24 */
	};

	/* Aquila SD_1_CD# as GPIO */
	pinctrl_sd1_cd_gpio: sd1cdgpiogrp {
		fsl,pins = <IMX95_PAD_SD2_CD_B__GPIO3_IO_BIT0	0x1100>; /* Aquila A1 */
	};

	/* Aquila SD_1_PWR_EN */
	pinctrl_sd1_pwr_en: sd1pwrengpiogrp {
		fsl,pins = <IMX95_PAD_SD2_RESET_B__GPIO3_IO_BIT7	0x11e>; /* Aquila A6 */
	};

	/* Aquila PWM_1 */
	pinctrl_pwm1: tpm3ch3grp {
		fsl,pins = <IMX95_PAD_GPIO_IO24__TPM3_CH3	0x11e>; /* Aquila C25 */
	};

	/* Aquila PWM_3_DSI */
	pinctrl_pwm3_dsi: tpm5ch0grp {
		fsl,pins = <IMX95_PAD_GPIO_IO06__TPM5_CH0	0x11e>; /* Aquila B46 */
	};

	/* Aquila PWM_3_DSI as GPIO */
	pinctrl_pwm3_dsi_gpio: tpm5ch0gpiogrp {
		fsl,pins = <IMX95_PAD_GPIO_IO06__GPIO2_IO_BIT6	0x11e>; /* Aquila B46 */
	};

	/* Aquila PWM_4_DP */
	pinctrl_pwm4_dp: tpm5ch3grp {
		fsl,pins = <IMX95_PAD_GPIO_IO26__TPM5_CH3	0x11e>; /* Aquila B58 */
	};

	/* Aquila PWM_2 */
	pinctrl_pwm2: tpm6ch0grp {
		fsl,pins = <IMX95_PAD_GPIO_IO08__TPM6_CH0	0x11e>; /* Aquila C26 */
	};

	/* Aquila UART_3 */
	pinctrl_uart1: uart1grp {
		fsl,pins = <IMX95_PAD_UART1_TXD__AONMIX_TOP_LPUART1_TX	0x31e>, /* Aquila D20 */
			   <IMX95_PAD_UART1_RXD__AONMIX_TOP_LPUART1_RX	0x31e>; /* Aquila D19 */
	};

	/* Aquila UART_4 */
	pinctrl_uart2: uart2grp {
		fsl,pins = <IMX95_PAD_UART2_TXD__AONMIX_TOP_LPUART2_TX	0x31e>, /* Aquila D22 */
			   <IMX95_PAD_UART2_RXD__AONMIX_TOP_LPUART2_RX	0x31e>; /* Aquila D21 */
	};

	/* Aquila UART_1 */
	pinctrl_uart3: uart3grp {
		fsl,pins = <IMX95_PAD_GPIO_IO14__LPUART3_TX	0x31e>, /* Aquila B37 */
			   <IMX95_PAD_GPIO_IO15__LPUART3_RX	0x31e>, /* Aquila B35 */
			   <IMX95_PAD_GPIO_IO16__LPUART3_CTS_B	0x31e>, /* Aquila B36 */
			   <IMX95_PAD_GPIO_IO17__LPUART3_RTS_B	0x31e>; /* Aquila B38 */
	};

	/* Aquila UART_2 */
	pinctrl_uart7: uart7grp {
		fsl,pins = <IMX95_PAD_GPIO_IO36__LPUART7_TX	0x31e>, /* Aquila B33 */
			   <IMX95_PAD_GPIO_IO37__LPUART7_RX	0x31e>, /* Aquila B31 */
			   <IMX95_PAD_GPIO_IO10__LPUART7_CTS_B	0x31e>, /* Aquila B32 */
			   <IMX95_PAD_GPIO_IO11__LPUART7_RTS_B	0x31e>; /* Aquila B34 */
	};

	/* On-module eMMC */
	pinctrl_usdhc1: usdhc1grp {
		fsl,pins = <IMX95_PAD_SD1_CLK__USDHC1_CLK	0x158e>, /* eMMC_CLK    */
			   <IMX95_PAD_SD1_CMD__USDHC1_CMD	0x138e>, /* eMMC_CMD    */
			   <IMX95_PAD_SD1_DATA0__USDHC1_DATA0	0x138e>, /* eMMC_DATA0  */
			   <IMX95_PAD_SD1_DATA1__USDHC1_DATA1	0x138e>, /* eMMC_DATA1  */
			   <IMX95_PAD_SD1_DATA2__USDHC1_DATA2	0x138e>, /* eMMC_DATA2  */
			   <IMX95_PAD_SD1_DATA3__USDHC1_DATA3	0x138e>, /* eMMC_DATA3  */
			   <IMX95_PAD_SD1_DATA4__USDHC1_DATA4	0x138e>, /* eMMC_DATA4  */
			   <IMX95_PAD_SD1_DATA5__USDHC1_DATA5	0x138e>, /* eMMC_DATA5  */
			   <IMX95_PAD_SD1_DATA6__USDHC1_DATA6	0x138e>, /* eMMC_DATA6  */
			   <IMX95_PAD_SD1_DATA7__USDHC1_DATA7	0x138e>, /* eMMC_DATA7  */
			   <IMX95_PAD_SD1_STROBE__USDHC1_STROBE	0x158e>; /* eMMC_STROBE */
	};

	pinctrl_usdhc1_200mhz: usdhc1-200mhzgrp {
		fsl,pins = <IMX95_PAD_SD1_CLK__USDHC1_CLK	0x15fe>, /* eMMC_CLK    */
			   <IMX95_PAD_SD1_CMD__USDHC1_CMD	0x13fe>, /* eMMC_CMD    */
			   <IMX95_PAD_SD1_DATA0__USDHC1_DATA0	0x13fe>, /* eMMC_DATA0  */
			   <IMX95_PAD_SD1_DATA1__USDHC1_DATA1	0x13fe>, /* eMMC_DATA1  */
			   <IMX95_PAD_SD1_DATA2__USDHC1_DATA2	0x13fe>, /* eMMC_DATA2  */
			   <IMX95_PAD_SD1_DATA3__USDHC1_DATA3	0x13fe>, /* eMMC_DATA3  */
			   <IMX95_PAD_SD1_DATA4__USDHC1_DATA4	0x13fe>, /* eMMC_DATA4  */
			   <IMX95_PAD_SD1_DATA5__USDHC1_DATA5	0x13fe>, /* eMMC_DATA5  */
			   <IMX95_PAD_SD1_DATA6__USDHC1_DATA6	0x13fe>, /* eMMC_DATA6  */
			   <IMX95_PAD_SD1_DATA7__USDHC1_DATA7	0x13fe>, /* eMMC_DATA7  */
			   <IMX95_PAD_SD1_STROBE__USDHC1_STROBE	0x15fe>; /* eMMC_STROBE */
	};

	/* Aquila SD_1 */
	pinctrl_usdhc2: usdhc2grp {
		fsl,pins = <IMX95_PAD_SD2_CLK__USDHC2_CLK	0x158e>, /* Aquila A5  */
			   <IMX95_PAD_SD2_CMD__USDHC2_CMD	0x138e>, /* Aquila A7  */
			   <IMX95_PAD_SD2_DATA0__USDHC2_DATA0	0x138e>, /* Aquila A3  */
			   <IMX95_PAD_SD2_DATA1__USDHC2_DATA1	0x138e>, /* Aquila A2  */
			   <IMX95_PAD_SD2_DATA2__USDHC2_DATA2	0x138e>, /* Aquila A10 */
			   <IMX95_PAD_SD2_DATA3__USDHC2_DATA3	0x138e>; /* Aquila A8  */
	};

	pinctrl_usdhc2_200mhz: usdhc2-200mhzgrp {
		fsl,pins = <IMX95_PAD_SD2_CLK__USDHC2_CLK	0x15fe>, /* Aquila A5  */
			   <IMX95_PAD_SD2_CMD__USDHC2_CMD	0x13fe>, /* Aquila A7  */
			   <IMX95_PAD_SD2_DATA0__USDHC2_DATA0	0x13fe>, /* Aquila A3  */
			   <IMX95_PAD_SD2_DATA1__USDHC2_DATA1	0x13fe>, /* Aquila A2  */
			   <IMX95_PAD_SD2_DATA2__USDHC2_DATA2	0x13fe>, /* Aquila A10 */
			   <IMX95_PAD_SD2_DATA3__USDHC2_DATA3	0x13fe>; /* Aquila A8  */
	};

	pinctrl_usdhc2_sleep: usdhc2-sleepgrp {
		fsl,pins = <IMX95_PAD_SD2_CLK__USDHC2_CLK	0x400>, /* Aquila A5  */
			   <IMX95_PAD_SD2_CMD__USDHC2_CMD	0x400>, /* Aquila A7  */
			   <IMX95_PAD_SD2_DATA0__USDHC2_DATA0	0x400>, /* Aquila A3  */
			   <IMX95_PAD_SD2_DATA1__USDHC2_DATA1	0x400>, /* Aquila A2  */
			   <IMX95_PAD_SD2_DATA2__USDHC2_DATA2	0x400>, /* Aquila A10 */
			   <IMX95_PAD_SD2_DATA3__USDHC2_DATA3	0x400>; /* Aquila A8  */
	};
};
